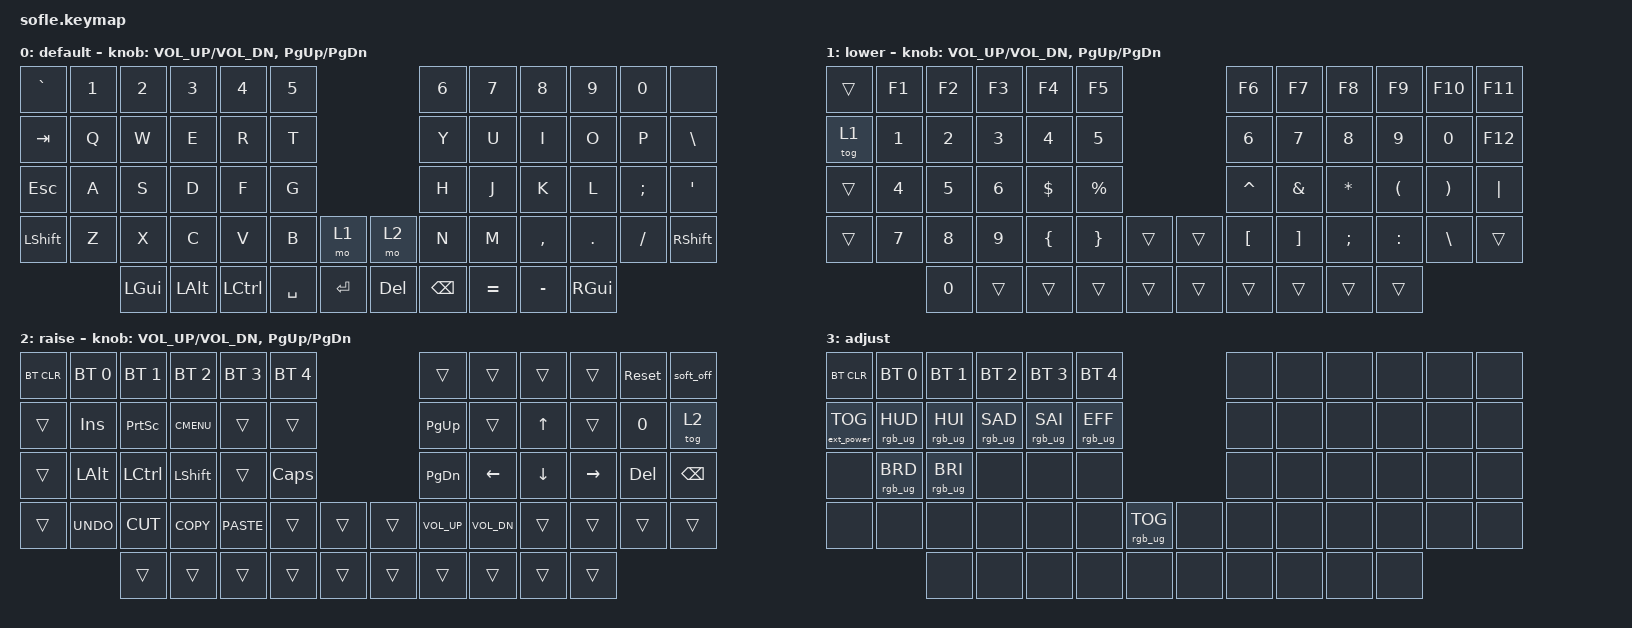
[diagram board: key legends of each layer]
/*
 * Copyright (c) 2020 The ZMK Contributors
 *
 * SPDX-License-Identifier: MIT
 */

#include <behaviors.dtsi>
#include <dt-bindings/zmk/bt.h>
#include <dt-bindings/zmk/ext_power.h>
#include <dt-bindings/zmk/keys.h>
#include <dt-bindings/zmk/rgb.h>

#define BASE 0
#define LOWER 1
#define RAISE 2
#define ADJUST 3

/ {
    // Activate ADJUST layer by pressing raise and lower

    conditional_layers {
        compatible = "zmk,conditional-layers";

        adjust_layer {
            if-layers = <1 2>;
            then-layer = <3>;
        };
    };

    behaviors {
        new_behavior: new_behavior {
            compatible = "zmk,behavior-soft-off";
            label = "NEW_BEHAVIOR";
            #binding-cells = <0>;
            hold-time-ms = <5000>;
        };
    };

    keymap {
        compatible = "zmk,keymap";

        default_layer {
            display-name = "default";

            // ------------------------------------------------------------------------------------------------------------
            // |   `   |  1  |  2  |  3   |  4   |  5   |                   |  6   |  7    |  8    |  9   |   0   |       |
            // |  ESC  |  Q  |  W  |  E   |  R   |  T   |                   |  Y   |  U    |  I    |  O   |   P   | BKSPC |
            // |  TAB  |  A  |  S  |  D   |  F   |  G   |                   |  H   |  J    |  K    |  L   |   ;   |   '   |
            // | SHIFT |  Z  |  X  |  C   |  V   |  B   |  MUTE  |  |       |  N   |  M    |  ,    |  .   |   /   | SHIFT |
            //               | GUI | ALT  | CTRL | LOWER|  ENTER |  | SPACE | RAISE| CTRL  | ALT   | GUI  |

            bindings = <
&kp GRAVE   &kp N1  &kp N2    &kp N3    &kp N4     &kp N5                           &kp N6         &kp N7     &kp N8     &kp N9    &kp N0    &none
&kp TAB     &kp Q   &kp W     &kp E     &kp R      &kp T                            &kp Y          &kp U      &kp I      &kp O     &kp P     &kp BACKSLASH
&kp ESCAPE  &kp A   &kp S     &kp D     &kp F      &kp G                            &kp H          &kp J      &kp K      &kp L     &kp SEMI  &kp SQT
&kp LSHFT   &kp Z   &kp X     &kp C     &kp V      &kp B      &mo 1        &mo 2    &kp N          &kp M      &kp COMMA  &kp DOT   &kp FSLH  &kp RSHFT
                    &kp LGUI  &kp LALT  &kp LCTRL  &kp SPACE  &kp ENTER    &kp DEL  &kp BACKSPACE  &kp EQUAL  &kp MINUS  &kp RGUI
            >;

            sensor-bindings = <&inc_dec_kp C_VOL_UP C_VOL_DN &inc_dec_kp PG_UP PG_DN>;
        };

        lower_layer {
            display-name = "lower";

            // TODO: Some binds are waiting for shifted keycode support.
            // ------------------------------------------------------------------------------------------------------------
            // |       |  F1 |  F2 |  F3  |  F4  |  F5  |                   |  F6  |  F7   |  F8   |  F9  |  F10  |  F11  |
            // |   `   |  1  |  2  |  3   |  4   |  5   |                   |  6   |  7    |  8    |  9   |   0   |  F12  |
            // |       |  !  |  @  |  #   |  $   |  %   |                   |  ^   |  &    |  *    |  (   |   )   |   |   |
            // |       |  =  |  -  |  +   |  {   |  }   |        |  |       |  [   |  ]    |  ;    |  :   |   \   |       |
            //               |     |      |      |      |        |  |       |      |       |       |      |

            bindings = <
&trans  &kp F1        &kp F2  &kp F3        &kp F4    &kp F5                       &kp F6     &kp F7    &kp F8     &kp F9     &kp F10   &kp F11
&tog 1  &kp N1        &kp N2  &kp N3        &kp N4    &kp N5                       &kp N6     &kp N7    &kp N8     &kp N9     &kp N0    &kp F12
&trans  &kp NUMBER_4  &kp N5  &kp NUMBER_6  &kp DLLR  &kp PRCNT                    &kp CARET  &kp AMPS  &kp ASTRK  &kp LPAR   &kp RPAR  &kp PIPE
&trans  &kp N7        &kp N8  &kp N9        &kp LBRC  &kp RBRC   &trans    &trans  &kp LBKT   &kp RBKT  &kp SEMI   &kp COLON  &kp BSLH  &trans
                      &kp N0  &trans        &trans    &trans     &trans    &trans  &trans     &trans    &trans     &trans
            >;

            sensor-bindings = <&inc_dec_kp C_VOL_UP C_VOL_DN &inc_dec_kp PG_UP PG_DN>;
        };

        raise_layer {
            display-name = "raise";

            // ------------------------------------------------------------------------------------------------------------
            // | BTCLR | BT1  | BT2  |  BT3  |  BT4  |  BT5 |                |      |      |       |      |       |       |
            // |       | INS  | PSCR | GUI   |       |      |                | PGUP |      |   ^   |      |       |       |
            // |       | ALT  | CTRL | SHIFT |       | CAPS |                | PGDN |   <- |   v   |  ->  |  DEL  | BKSPC |
            // |       | UNDO | CUT  | COPY  | PASTE |      |      |  |      |      |      |       |      |       |       |
            //                |      |       |       |      |      |  |      |      |      |       |      |

            bindings = <
&bt BT_CLR  &bt BT_SEL 0  &bt BT_SEL 1  &bt BT_SEL 2  &bt BT_SEL 3  &bt BT_SEL 4                    &trans           &trans        &trans    &trans     &sys_reset  &soft_off
&trans      &kp INS       &kp PSCRN     &kp K_CMENU   &trans        &trans                          &kp PG_UP        &trans        &kp UP    &trans     &kp N0      &tog 2
&trans      &kp LALT      &kp LCTRL     &kp LSHFT     &trans        &kp CLCK                        &kp PG_DN        &kp LEFT      &kp DOWN  &kp RIGHT  &kp DEL     &kp BSPC
&trans      &kp K_UNDO    &kp K_CUT     &kp K_COPY    &kp K_PASTE   &trans        &trans    &trans  &kp C_VOLUME_UP  &kp C_VOL_DN  &trans    &trans     &trans      &trans
                          &trans        &trans        &trans        &trans        &trans    &trans  &trans           &trans        &trans    &trans
            >;

            sensor-bindings = <&inc_dec_kp C_VOL_UP C_VOL_DN &inc_dec_kp PG_UP PG_DN>;
        };

        adjust_layer {
            // ----------------------------------------------------------------------------------------------------------------------------
            // | BTCLR  |  BT1    |  BT2    |   BT3   |   BT4   |   BT5   |                  |      |      |       |      |       |       |
            // | EXTPWR | RGB_HUD | RGB_HUI | RGB_SAD | RGB_SAI | RGB_EFF |                  |      |      |       |      |       |       |
            // |        | RGB_BRD | RGB_BRI |         |         |         |                  |      |      |       |      |       |       |
            // |        |         |         |         |         |         | RGB_TOG | |      |      |      |       |      |       |       |
            //                    |         |         |         |         |         | |      |      |      |       |      |

            display-name = "adjust";
            bindings = <
&bt BT_CLR         &bt BT_SEL 0     &bt BT_SEL 1     &bt BT_SEL 2     &bt BT_SEL 3     &bt BT_SEL 4                               &none  &none  &none  &none  &none  &none
&ext_power EP_TOG  &rgb_ug RGB_HUD  &rgb_ug RGB_HUI  &rgb_ug RGB_SAD  &rgb_ug RGB_SAI  &rgb_ug RGB_EFF                            &none  &none  &none  &none  &none  &none
&none              &rgb_ug RGB_BRD  &rgb_ug RGB_BRI  &none            &none            &none                                      &none  &none  &none  &none  &none  &none
&none              &none            &none            &none            &none            &none            &rgb_ug RGB_TOG    &none  &none  &none  &none  &none  &none  &none
                                    &none            &none            &none            &none            &none              &none  &none  &none  &none  &none
            >;
        };
    };
};
